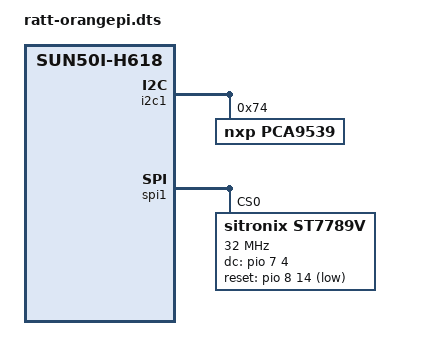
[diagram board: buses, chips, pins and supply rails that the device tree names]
/*
 * MakeIt Labs RATT: RFID All The Things
 * Device Tree Overlay for Orange Pi Zero 2W (Allwinner H616/H618)
 * -----------------------------------------------------------------
 * Resources on 40-pin header:
 * - PCA9539 16-bit I2C I/O Expander at address 0x74 on I2C1 (PI7, PI8)
 * - ST7789V 240x320 SPI display on SPI1 (PH5 CS, PH6 CLK, PH7 MOSI, PH8 MISO)
 *   with DC on PH4 (pin 18) and Reset on PI14 (pin 16)
 * - PCM5102A HiFiBerry DAC on I2S0 (PI1 BCLK, PI2 LRCK, PI3 DOUT0)
 *   providing ALSA card "sndrpihifiberry"
 */

/dts-v1/;
/plugin/;

/ {
    compatible = "allwinner,sun50i-h616", "allwinner,sun50i-h618";

    /* I2C1: PCA9539 GPIO Expander */
    fragment@0 {
        target = <&i2c1>;
        __overlay__ {
            status = "okay";
            #address-cells = <1>;
            #size-cells = <0>;
            pinctrl-names = "default";
            pinctrl-0 = <&i2c1_pi_pins>;

            pca9539: pca9539@74 {
                compatible = "nxp,pca9539";
                reg = <0x74>;
                gpio-controller;
                #gpio-cells = <2>;
                status = "okay";
            };
        };
    };

    /* SPI1: ST7789V LCD Display */
    fragment@1 {
        target = <&spi1>;
        __overlay__ {
            status = "okay";
            #address-cells = <1>;
            #size-cells = <0>;
            pinctrl-names = "default";
            pinctrl-0 = <&spi1_pins &spi1_cs0_pin>;

            st7789v: st7789v@0 {
                compatible = "sitronix,st7789v";
                reg = <0>;
                status = "okay";
                spi-max-frequency = <32000000>;
                rotate = <90>;
                buswidth = <8>;
                fps = <30>;
                dc-gpios = <&pio 7 4 0>;    /* PH4 (Pin 18, Data/Command) */
                reset-gpios = <&pio 8 14 1>; /* PI14 (Pin 16, Active Low Reset) */
                debug = <0>;
            };
        };
    };

    /* Port I pins for I2S0 */
    fragment@2 {
        target = <&pio>;
        __overlay__ {
            ahub_daudio0_pins_a: ahub_daudio0_pins_a {
                pins = "PI0", "PI1", "PI2";
                function = "i2s0";
                drive-strength = <0x14>;
                bias-disable;
            };
            ahub_daudio0_pins_b: ahub_daudio0_pins_b {
                pins = "PI3";
                function = "i2s0_dout0";
                drive-strength = <0x14>;
                bias-disable;
            };
        };
    };

    /* Audio Hub Sound Card ("sndrpihifiberry") on I2S0 */
    fragment@3 {
        target-path = "/soc";
        __overlay__ {
            ahub0_plat: ahub0_plat {
                compatible = "allwinner,sunxi-snd-plat-ahub";
                #sound-dai-cells = <0>;
                apb_num = <0>;
                tdm_num = <0>;
                tx_pin = <0>;
                rx_pin = <0>;
                dmas = <&dma 3>, <&dma 3>;
                dma-names = "tx", "rx";
                playback_cma = <128>;
                capture_cma = <128>;
                tx_fifo_size = <128>;
                rx_fifo_size = <128>;
                pinctrl-names = "default";
                pinctrl-0 = <&ahub_daudio0_pins_a>, <&ahub_daudio0_pins_b>;
                status = "okay";
            };

            ahub0_mach: ahub0_mach {
                compatible = "allwinner,sunxi-snd-mach";
                soundcard-mach,name = "sndrpihifiberry";
                soundcard-mach,format = "i2s";
                soundcard-mach,frame-master = <&ahub0_cpu>;
                soundcard-mach,bitclock-master = <&ahub0_cpu>;
                soundcard-mach,slot-num = <2>;
                soundcard-mach,slot-width = <32>;
                status = "okay";

                ahub0_cpu: soundcard-mach,cpu {
                    sound-dai = <&ahub0_plat>;
                    soundcard-mach,pll-fs = <4>;
                    soundcard-mach,mclk-fs = <0x100>;
                };

                ahub0_codec: soundcard-mach,codec {
                };
            };
        };
    };
};
